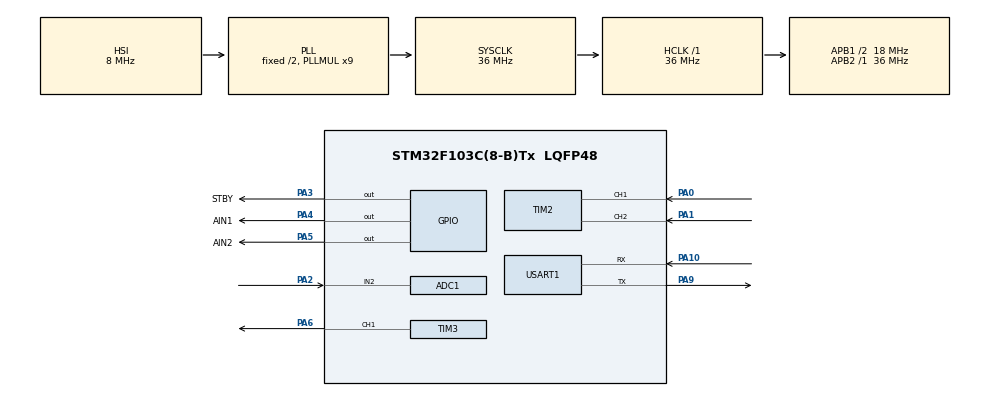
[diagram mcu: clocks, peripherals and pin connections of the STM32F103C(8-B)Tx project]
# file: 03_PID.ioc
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ADC1.Channel-0\#ChannelRegularConversion=ADC_CHANNEL_2
ADC1.NbrOfConversionFlag=1
ADC1.Rank-0\#ChannelRegularConversion=1
ADC1.SamplingTime-0\#ChannelRegularConversion=ADC_SAMPLETIME_1CYCLE_5
ADC1.master=1
FREERTOS.Tasks01=defaultTask,24,128,StartDefaultTask,Default,NULL,Dynamic,NULL,NULL;Task_ADC,24,1024,StartTask_ADC,Default,NULL,Dynamic,NULL,NULL;Task_PID,32,1024,StartTask_PID,Default,NULL,Dynamic,NULL,NULL
FREERTOS.configTOTAL_HEAP_SIZE=10240
Mcu.Family=STM32F1
Mcu.Name=STM32F103C(8-B)Tx
Mcu.Package=LQFP48
NVIC.PriorityGroup=NVIC_PRIORITYGROUP_4
NVIC.TIM1_UP_IRQn=true\:15\:0\:false\:false\:true\:false\:false\:true\:true
NVIC.TimeBase=TIM1_UP_IRQn
NVIC.TimeBaseIP=TIM1
PA0-WKUP.GPIO_PuPd=GPIO_PULLUP
PA0-WKUP.Signal=S_TIM2_CH1_ETR
PA1.GPIO_PuPd=GPIO_PULLUP
PA1.Signal=S_TIM2_CH2
PA10.Mode=Asynchronous
PA10.Signal=USART1_RX
PA13.Mode=Serial_Wire
PA13.Signal=SYS_JTMS-SWDIO
PA14.Mode=Serial_Wire
PA14.Signal=SYS_JTCK-SWCLK
PA2.Signal=ADCx_IN2
PA3.GPIO_Label=STBY
PA3.Signal=GPIO_Output
PA4.GPIO_Label=AIN1
PA4.Signal=GPIO_Output
PA5.GPIO_Label=AIN2
PA5.Signal=GPIO_Output
PA6.Signal=S_TIM3_CH1
PA9.Mode=Asynchronous
PA9.Signal=USART1_TX
ProjectManager.HeapSize=0x200
ProjectManager.StackSize=0x400
ProjectManager.TargetToolchain=CMake
RCC.ADCPresc=RCC_ADCPCLK2_DIV4
RCC.AHBFreq_Value=36000000
RCC.APB1CLKDivider=RCC_HCLK_DIV2
RCC.APB1Freq_Value=18000000
RCC.APB1TimFreq_Value=36000000
RCC.APB2Freq_Value=36000000
RCC.APB2TimFreq_Value=36000000
RCC.HCLKFreq_Value=36000000
RCC.PLLMUL=RCC_PLL_MUL9
RCC.SYSCLKFreq_VALUE=36000000
RCC.SYSCLKSource=RCC_SYSCLKSOURCE_PLLCLK
RCC.USBFreq_Value=36000000
SH.ADCx_IN2.0=ADC1_IN2,IN2
SH.S_TIM2_CH1_ETR.0=TIM2_CH1,Encoder_Interface
SH.S_TIM2_CH2.0=TIM2_CH2,Encoder_Interface
SH.S_TIM3_CH1.0=TIM3_CH1,PWM Generation1 CH1
TIM2.EncoderMode=TIM_ENCODERMODE_TI12
TIM3.AutoReloadPreload=TIM_AUTORELOAD_PRELOAD_ENABLE
TIM3.Channel-PWM\ Generation1\ CH1=TIM_CHANNEL_1
TIM3.Period=7199
USART1.VirtualMode=VM_ASYNC
VP_FREERTOS_VS_CMSIS_V2.Mode=CMSIS_V2
VP_SYS_VS_tim1.Mode=TIM1
board=custom

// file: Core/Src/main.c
/* USER CODE BEGIN Header */
/**
  ******************************************************************************
  * @file           : main.c
  * @brief          : Main program body
  ******************************************************************************
  * @attention
  *
  * Copyright (c) 2026 STMicroelectronics.
  * All rights reserved.
  *
  * This software is licensed under terms that can be found in the LICENSE file
  * in the root directory of this software component.
  * If no LICENSE file comes with this software, it is provided AS-IS.
  *
  ******************************************************************************
  */
/* USER CODE END Header */
#include "main.h"
#include "cmsis_os.h"
#include "adc.h"
#include "tim.h"
#include "usart.h"
#include "gpio.h"

void SystemClock_Config(void);
void MX_FREERTOS_Init(void);

/* USER CODE BEGIN 0 */
#include <string.h>
#include <stdio.h>
/* ===== 电机控制函数 ===== */
void Motor_Forward(uint16_t pwm_value)
{
    HAL_GPIO_WritePin(GPIOA, GPIO_PIN_4, GPIO_PIN_SET);   // AIN1 = 高
    HAL_GPIO_WritePin(GPIOA, GPIO_PIN_5, GPIO_PIN_RESET); // AIN2 = 低
    __HAL_TIM_SetCompare(&htim3, TIM_CHANNEL_1, pwm_value);
}

void Motor_Reverse(uint16_t pwm_value)
{
    HAL_GPIO_WritePin(GPIOA, GPIO_PIN_4, GPIO_PIN_RESET); // AIN1 = 低
    HAL_GPIO_WritePin(GPIOA, GPIO_PIN_5, GPIO_PIN_SET);   // AIN2 = 高
    __HAL_TIM_SetCompare(&htim3, TIM_CHANNEL_1, pwm_value);
}

void Motor_Stop(void)
{
    HAL_GPIO_WritePin(GPIOA, GPIO_PIN_4, GPIO_PIN_RESET);
    HAL_GPIO_WritePin(GPIOA, GPIO_PIN_5, GPIO_PIN_RESET);
    __HAL_TIM_SetCompare(&htim3, TIM_CHANNEL_1, 0);
}

/* ===== 编码器读取函数 ===== */
int32_t Encoder_GetCount(void)
{
    return (int32_t)__HAL_TIM_GET_COUNTER(&htim2);
}

void Encoder_Reset(void)
{
    __HAL_TIM_SET_COUNTER(&htim2, 0);
}

/* ===== ADC读取函数 ===== */
uint16_t ADC_Read(void)
{
    HAL_ADC_Start(&hadc1);
    if (HAL_ADC_PollForConversion(&hadc1, 100) == HAL_OK)
    {
        return HAL_ADC_GetValue(&hadc1);
    }
    return 0;
}

/* ===== 串口发送函数（封装） ===== */
void UART_Send_String(char *str)
{
    HAL_UART_Transmit(&huart1, (uint8_t*)str, strlen(str), HAL_MAX_DELAY);
}

/* ===== FreeRTOS 任务函数声明 ===== */
void Task_ADC(void *argument);
void Task_PID(void *argument);

/* ===== PID 结构体 ===== */
typedef struct {
    float Kp;
    float Ki;
    float Kd;
    float target;
    float feedback;
    float last_error;
    float prev_error;
    float integral;
    float output;
    float output_limit;
} PID_Handle_t;

/* ===== PID 初始化函数 ===== */
void PID_Init(PID_Handle_t *pid, float Kp, float Ki, float Kd, float output_limit)
{
    pid->Kp = Kp;
    pid->Ki = Ki;
    pid->Kd = Kd;
    pid->target = 0;
    pid->feedback = 0;
    pid->last_error = 0;
    pid->prev_error = 0;
    pid->integral = 0;
    pid->output = 0;
    pid->output_limit = output_limit;
}

/* ===== 增量式 PID 计算函数 ===== */
float PID_Update(PID_Handle_t *pid, float target, float feedback)
{
    pid->target = target;
    pid->feedback = feedback;

    float error = target - feedback;

    // 增量式 PID
    float delta_u = pid->Kp * (error - pid->last_error)
                  + pid->Ki * error
                  + pid->Kd * (error - 2 * pid->last_error + pid->prev_error);

    pid->prev_error = pid->last_error;
    pid->last_error = error;

    // 累加输出并限幅
    pid->output += delta_u;
    if (pid->output > pid->output_limit) pid->output = pid->output_limit;
    if (pid->output < -pid->output_limit) pid->output = -pid->output_limit;

    return pid->output;
}

/* USER CODE END 0 */

int main(void)
{

  /* MCU Configuration--------------------------------------------------------*/

  /* Reset of all peripherals, Initializes the Flash interface and the Systick. */
  HAL_Init();

  /* Configure the system clock */
  SystemClock_Config();

  /* Initialize all configured peripherals */
  MX_GPIO_Init();
  MX_ADC1_Init();
  MX_TIM2_Init();
  MX_TIM3_Init();
  MX_USART1_UART_Init();
  /* USER CODE BEGIN 2 */
/* 启动 PWM 定时器 */
HAL_TIM_PWM_Start(&htim3, TIM_CHANNEL_1);

/* 启动编码器定时器*/
HAL_TIM_Encoder_Start(&htim2, TIM_CHANNEL_ALL);

/* STBY 使能（如果 STBY 接的是 GPIO，需要拉高） */
// HAL_GPIO_WritePin(STBY_GPIO_Port, STBY_Pin, GPIO_PIN_SET);

/* 打印启动信息 */
char msg[] = "Motor Control Started!\r\n";
UART_Send_String(msg);

/* 创建 FreeRTOS 任务 */
osThreadAttr_t attr_ADC = { .name = "TaskADC", .stack_size = 1024, .priority = osPriorityNormal };
osThreadAttr_t attr_PID = { .name = "TaskPID", .stack_size = 1024, .priority = osPriorityHigh };

osThreadNew(Task_ADC, NULL, &attr_ADC);
osThreadNew(Task_PID, NULL, &attr_PID);

  /* USER CODE END 2 */

  /* Init scheduler */
  osKernelInitialize();  /* Call init function for freertos objects (in cmsis_os2.c) */
  MX_FREERTOS_Init();

  /* Start scheduler */
  osKernelStart();

  /* We should never get here as control is now taken by the scheduler */

  /* Infinite loop */
  while (1)
  {

  }
}

void SystemClock_Config(void)
{
  RCC_OscInitTypeDef RCC_OscInitStruct = {0};
  RCC_ClkInitTypeDef RCC_ClkInitStruct = {0};
  RCC_PeriphCLKInitTypeDef PeriphClkInit = {0};

  /** Initializes the RCC Oscillators according to the specified parameters
  * in the RCC_OscInitTypeDef structure.
  */
  RCC_OscInitStruct.OscillatorType = RCC_OSCILLATORTYPE_HSI;
  RCC_OscInitStruct.HSIState = RCC_HSI_ON;
  RCC_OscInitStruct.HSICalibrationValue = RCC_HSICALIBRATION_DEFAULT;
  RCC_OscInitStruct.PLL.PLLState = RCC_PLL_ON;
  RCC_OscInitStruct.PLL.PLLSource = RCC_PLLSOURCE_HSI_DIV2;
  RCC_OscInitStruct.PLL.PLLMUL = RCC_PLL_MUL9;
  if (HAL_RCC_OscConfig(&RCC_OscInitStruct) != HAL_OK)
  {
    Error_Handler();
  }

  /** Initializes the CPU, AHB and APB buses clocks
  */
  RCC_ClkInitStruct.ClockType = RCC_CLOCKTYPE_HCLK|RCC_CLOCKTYPE_SYSCLK
                              |RCC_CLOCKTYPE_PCLK1|RCC_CLOCKTYPE_PCLK2;
  RCC_ClkInitStruct.SYSCLKSource = RCC_SYSCLKSOURCE_PLLCLK;
  RCC_ClkInitStruct.AHBCLKDivider = RCC_SYSCLK_DIV1;
  RCC_ClkInitStruct.APB1CLKDivider = RCC_HCLK_DIV2;
  RCC_ClkInitStruct.APB2CLKDivider = RCC_HCLK_DIV1;

  if (HAL_RCC_ClockConfig(&RCC_ClkInitStruct, FLASH_LATENCY_1) != HAL_OK)
  {
    Error_Handler();
  }
  PeriphClkInit.PeriphClockSelection = RCC_PERIPHCLK_ADC;
  PeriphClkInit.AdcClockSelection = RCC_ADCPCLK2_DIV4;
  if (HAL_RCCEx_PeriphCLKConfig(&PeriphClkInit) != HAL_OK)
  {
    Error_Handler();
  }
}

/* USER CODE BEGIN 4 */
/* ===== ADC 读取任务（每100ms执行一次） ===== */
void Task_ADC(void *argument)
{
    for(;;)
    {
        uint16_t adc_value = ADC_Read();

        //char buf[30];
        //sprintf(buf, "ADC: %d\r\n", adc_value);
        //HAL_UART_Transmit(&huart1, (uint8_t*)buf, strlen(buf), HAL_MAX_DELAY);

        osDelay(100);
    }
}

/* ===== PID 控制任务（每100ms执行一次） ===== */
void Task_PID(void *argument)
{
    PID_Handle_t pid_speed;
    PID_Init(&pid_speed, 0.5f, 0.1f, 0.0f, 1000.0f);

    float speed_scale = 1.0f;
    int32_t last_encoder = 0;

    for(;;)
    {
        // 1. 读取 ADC → 目标速度
        uint16_t adc_value = ADC_Read();
        int32_t encoder_count = Encoder_GetCount();
        float target_speed = (float)adc_value / 4095.0f * 1000.0f;

        // 2. 读取编码器 → 实际速度
        int32_t current_encoder = Encoder_GetCount();
        float current_speed = (float)(current_encoder - last_encoder) * speed_scale;
        last_encoder = current_encoder;

        // 3. PID 计算
        float pid_output = PID_Update(&pid_speed, target_speed, current_speed);

        // 4. 应用到电机
        if (pid_output > 0) {
            Motor_Forward((uint16_t)(pid_output > 1000 ? 1000 : pid_output));
        } else if (pid_output < 0) {
            Motor_Reverse((uint16_t)(-pid_output > 1000 ? 1000 : -pid_output));
        } else {
            Motor_Stop();
        }

        // 5. 发送到 VOFA+
         char buf[60];
        sprintf(buf, "A:%4d E:%4ld\r\n", adc_value, encoder_count);
        HAL_UART_Transmit(&huart1, (uint8_t*)buf, strlen(buf), 100);

        osDelay(50);  // 50ms 发送一次
    }
}
/* USER CODE END 4 */

void HAL_TIM_PeriodElapsedCallback(TIM_HandleTypeDef *htim)
{
  if (htim->Instance == TIM1)
  {
    HAL_IncTick();
  }
}

void Error_Handler(void)
{
  __disable_irq();
  while (1)
  {
  }
}

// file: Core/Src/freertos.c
/* USER CODE BEGIN Header */
/**
  ******************************************************************************
  * File Name          : freertos.c
  * Description        : Code for freertos applications
  ******************************************************************************
  * @attention
  *
  * Copyright (c) 2026 STMicroelectronics.
  * All rights reserved.
  *
  * This software is licensed under terms that can be found in the LICENSE file
  * in the root directory of this software component.
  * If no LICENSE file comes with this software, it is provided AS-IS.
  *
  ******************************************************************************
  */
/* USER CODE END Header */

#include "FreeRTOS.h"
#include "task.h"
#include "main.h"
#include "cmsis_os.h"

/* Definitions for defaultTask */
osThreadId_t defaultTaskHandle;
const osThreadAttr_t defaultTask_attributes = {
  .name = "defaultTask",
  .stack_size = 128 * 4,
  .priority = (osPriority_t) osPriorityNormal,
};
/* Definitions for Task_ADC */
osThreadId_t Task_ADCHandle;
const osThreadAttr_t Task_ADC_attributes = {
  .name = "Task_ADC",
  .stack_size = 1024 * 4,
  .priority = (osPriority_t) osPriorityNormal,
};
/* Definitions for Task_PID */
osThreadId_t Task_PIDHandle;
const osThreadAttr_t Task_PID_attributes = {
  .name = "Task_PID",
  .stack_size = 1024 * 4,
  .priority = (osPriority_t) osPriorityAboveNormal,
};

void StartDefaultTask(void *argument);
void StartTask_ADC(void *argument);
void StartTask_PID(void *argument);

void MX_FREERTOS_Init(void); /* (MISRA C 2004 rule 8.1) */

void MX_FREERTOS_Init(void) {

  /* Create the thread(s) */
  /* creation of defaultTask */
  defaultTaskHandle = osThreadNew(StartDefaultTask, NULL, &defaultTask_attributes);

  /* creation of Task_ADC */
  Task_ADCHandle = osThreadNew(StartTask_ADC, NULL, &Task_ADC_attributes);

  /* creation of Task_PID */
  Task_PIDHandle = osThreadNew(StartTask_PID, NULL, &Task_PID_attributes);

}

void StartDefaultTask(void *argument)
{
  for(;;)
  {
    osDelay(1);
  }
}

void StartTask_ADC(void *argument)
{
  for(;;)
  {
    osDelay(1);
  }
}

void StartTask_PID(void *argument)
{
  for(;;)
  {
    osDelay(1);
  }
}
